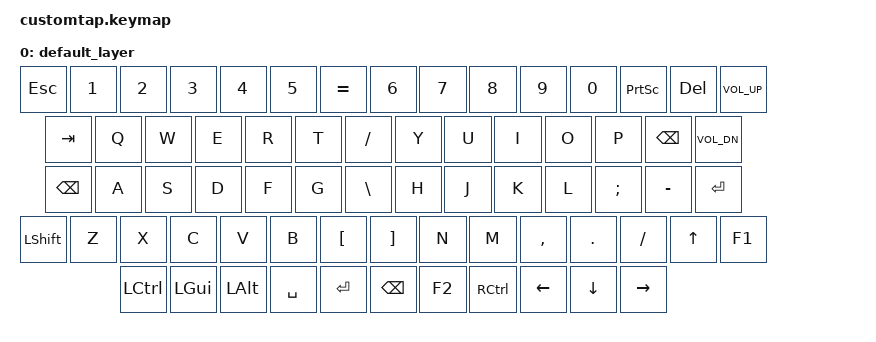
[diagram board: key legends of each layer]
#include <behaviors.dtsi>
#include <dt-bindings/zmk/keys.h> 
#include <dt-bindings/zmk/bt.h>
#include <dt-bindings/zmk/outputs.h>

#define DEFAULT 0

//╭──────────┬──────────┬──────────┬──────────┬──────────┬──────────┬──────────┬──────────┬──────────┬──────────┬──────────┬──────────┬──────────┬──────────┬──────────────╮
//     0           1            2          3         4          5         6         7           8          9         10         11         12         13          14
//├──────────┴────┬──────┴───┬──────┴───┬─────┴────┬─────┴────┬─────┴────┬─────┴────┬─────┴────┬─────┴────┬─────┴────┬─────┴────┬─────┴────┬─────┴──────────┼──────────────┤
//     15               16         17         18       19          20         21         22          23        24         25         26           27             28  
//├─────────────┲━┷━━━━━━━━┳━┷━━━━━━━━┳━┷━━━━━━━━┳━┷━━━━━━━━┱─┴────────┬─┴──────────┴───┬──────┴───┲━━━━━━┷━━━┳━━━━━━┷━━━┳━━━━━━┷━━━┳━━━━━━┷━━━┱──────────┬─┴──────────────┤
//     29            30         31         32         33        34            35            36           37         38        39         40         41           42
//├──────────┬──┺━━━━━━━┯━━┻━━━━━━━┯━━┻━━━━━━━┯━━┻━━━━━━━┯━━┹───────┬──┴───────┬────────┴─┬────────┺━┯━━━━━━━━┻━┯━━━━━━━━┻━┯━━━━━━━━┻━┯━━━━━━━━┹─┬────────┴─┬──────────────┤
//     43         44          45        46         47         48         49         50           51        52         53         54         55       56          57
//├──────────┴──┬───────┴─┬────────┴────┬─────┴──────────┴──────────┴───┬──────┴───────┬──┴──────────┴───────┬──┴───────┬──┴──────────┼──────────┼──────────┼──────────────┤
//     58           59         60                       61                    62                63               64           65           66        67          68
//╰─────────────┴─────────┴─────────────┴───────────────────────────────┴──────────────┴─────────────────────┴──────────┴─────────────┴──────────┴──────────┴──────────────╯

    keymap {
        compatible = "zmk,keymap";
        
        default_layer {
           bindings = <
//╭──────────┬──────────┬──────────┬──────────┬──────────┬──────────┬──────────┬──────────┬──────────┬──────────┬──────────┬──────────┬──────────┬──────────┬──────────────╮
    &kp ESC     &kp N1     &kp N2     &kp N3     &kp N4     &kp N5  &kp EQUAL     &kp N6     &kp N7     &kp N8     &kp N9     &kp N0      &kp PSCRN  &kp DEL    &kp C_VOL_UP
//├──────────┴────┬──────┴───┬──────┴───┬─────┴────┬─────┴────┬─────┴────┬─────┴────┬─────┴────┬─────┴────┬─────┴────┬─────┴────┬─────┴────┬─────┴──────────┼──────────────┤
    &kp TAB         &kp Q      &kp W      &kp E      &kp R     &kp T     &kp FSLH    &kp Y     &kp U      &kp I     &kp O      &kp P      &kp BACKSPACE     &kp C_VOL_DN
//├─────────────┲━┷━━━━━━━━┳━┷━━━━━━━━┳━┷━━━━━━━━┳━┷━━━━━━━━┱─┴────────┬─┴──────────┴───┬──────┴───┲━━━━━━┷━━━┳━━━━━━┷━━━┳━━━━━━┷━━━┳━━━━━━┷━━━┱──────────┬─┴──────────────┤
    &kp BACKSPACE  &kp A      &kp S      &kp D  &kp F      &kp G      &kp BSLH    &kp H     &kp J      &kp K      &kp L      &kp SEMI   &kp MINUS     &kp ENTER
//├──────────┬──┺━━━━━━━┯━━┻━━━━━━━┯━━┻━━━━━━━┯━━┻━━━━━━━┯━━┹───────┬──┴───────┬────────┴─┬────────┺━┯━━━━━━━━┻━┯━━━━━━━━┻━┯━━━━━━━━┻━┯━━━━━━━━┹─┬────────┴─┬──────────────┤
    &kp LSHIFT   &kp Z      &kp X      &kp C     &kp V       &kp B     &kp LBKT    &kp RBKT  &kp N       &kp M       &kp COMMA   &kp DOT   &kp FSLH     &kp UP    &kp F1
//├──────────┴──┬───────┴─┬────────┴────┬─────┴──────────┴──────────┴───┬──────┴───────┬──┴──────────┴───────┬──┴───────┬──┴──────────┼──────────┼──────────┼──────────────┤
    &kp LCTRL     &kp LGUI    &kp LALT              &kp SPACE           &kp ENTER   &kp BACKSPACE    &kp F2   &kp RCTRL      &kp LEFT   &kp DOWN    &kp RIGHT
//╰─────────────┴─────────┴─────────────┴───────────────────────────────┴──────────────┴─────────────────────┴──────────┴─────────────┴──────────┴──────────┴──────────────╯
             >;
        };
};
};
